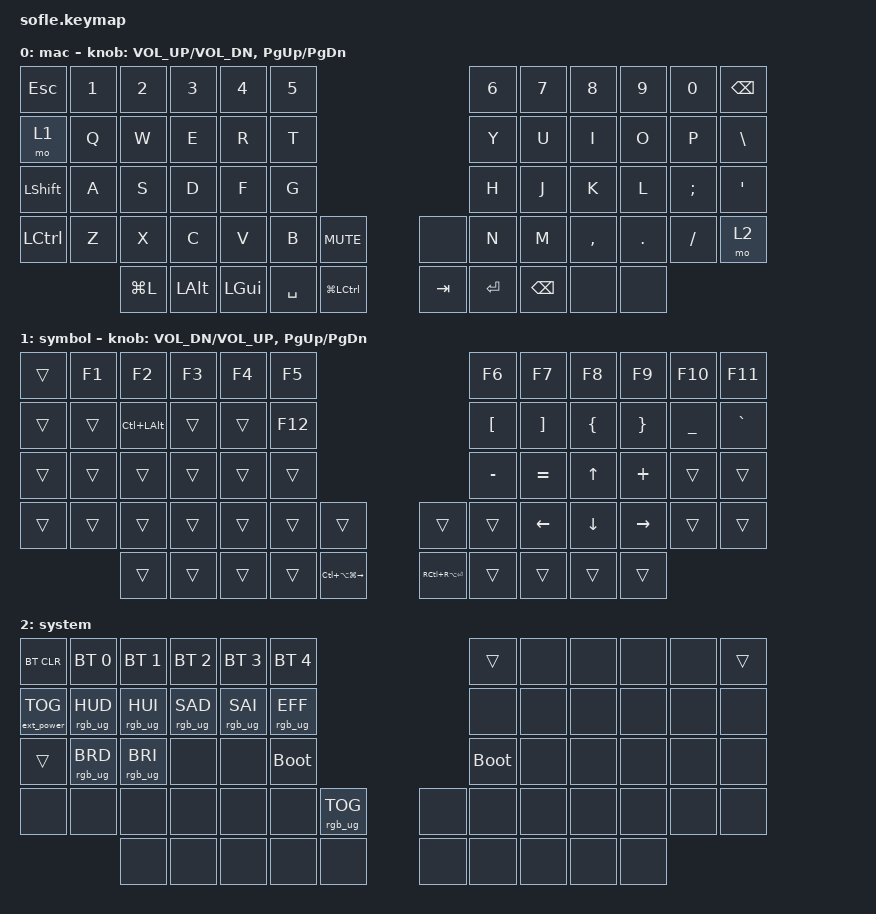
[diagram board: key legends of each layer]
/*
 * Copyright (c) 2020 The ZMK Contributors
 *
 * SPDX-License-Identifier: MIT
 */

#include <behaviors.dtsi>
#include <dt-bindings/zmk/bt.h>
#include <dt-bindings/zmk/ext_power.h>
#include <dt-bindings/zmk/keys.h>
#include <dt-bindings/zmk/rgb.h>

#define BASE 0
#define LOWER 1
#define RAISE 2
#define ADJUST 3

/ {
    // Activate ADJUST layer by pressing raise and lower

    conditional_layers { compatible = "zmk,conditional-layers"; };

    combos { compatible = "zmk,combos"; };

    keymap {
        compatible = "zmk,keymap";

        mac {
            label = "mac";

            // ------------------------------------------------------------------------------------------------------------
            // |   `   |  1  |  2  |  3   |  4   |  5   |                   |  6   |  7    |  8    |  9   |   0   |       |
            // |  ESC  |  Q  |  W  |  E   |  R   |  T   |                   |  Y   |  U    |  I    |  O   |   P   | BKSPC |
            // |  TAB  |  A  |  S  |  D   |  F   |  G   |                   |  H   |  J    |  K    |  L   |   ;   |   '   |
            // | SHIFT |  Z  |  X  |  C   |  V   |  B   |  MUTE  |  |       |  N   |  M    |  ,    |  .   |   /   | SHIFT |
            //               | GUI | ALT  | CTRL | LOWER|  ENTER |  | SPACE | RAISE| CTRL  | ALT   | GUI  |

            bindings = <
&kp ESC           &kp N1  &kp N2     &kp N3    &kp N4    &kp N5                                      &kp N6     &kp N7         &kp N8     &kp N9   &kp N0    &kp BACKSPACE
&mo 1             &kp Q   &kp W      &kp E     &kp R     &kp T                                       &kp Y      &kp U          &kp I      &kp O    &kp P     &kp BACKSLASH
&kp LEFT_SHIFT    &kp A   &kp S      &kp D     &kp F     &kp G                                       &kp H      &kp J          &kp K      &kp L    &kp SEMI  &kp SQT
&kp LEFT_CONTROL  &kp Z   &kp X      &kp C     &kp V     &kp B      &kp C_MUTE              &none    &kp N      &kp M          &kp COMMA  &kp DOT  &kp FSLH  &mo 2
                          &kp LG(L)  &kp LALT  &kp LGUI  &kp SPACE  &kp LG(LEFT_CONTROL)    &kp TAB  &kp ENTER  &kp BACKSPACE  &none      &none
            >;

            sensor-bindings = <&inc_dec_kp C_VOL_UP C_VOL_DN &inc_dec_kp PG_UP PG_DN>;
        };

        symbol {
            label = "symbol";

            // TODO: Some binds are waiting for shifted keycode support.
            // ------------------------------------------------------------------------------------------------------------
            // |       |  F1 |  F2 |  F3  |  F4  |  F5  |                   |  F6  |  F7   |  F8   |  F9  |  F10  |  F11  |
            // |   `   |  1  |  2  |  3   |  4   |  5   |                   |  6   |  7    |  8    |  9   |   0   |  F12  |
            // |       |  !  |  @  |  #   |  $   |  %   |                   |  ^   |  &    |  *    |  (   |   )   |   |   |
            // |       |  =  |  -  |  +   |  {   |  }   |        |  |       |  [   |  ]    |  ;    |  :   |   \   |       |
            //               |     |      |      |      |        |  |       |      |       |       |      |

            bindings = <
&trans  &kp F1  &kp F2            &kp F3  &kp F4  &kp F5                                               &kp F6            &kp F7             &kp F8          &kp F9           &kp F10         &kp F11
&trans  &trans  &kp LC(LEFT_ALT)  &trans  &trans  &kp F12                                              &kp LEFT_BRACKET  &kp RIGHT_BRACKET  &kp LEFT_BRACE  &kp RIGHT_BRACE  &kp UNDERSCORE  &kp GRAVE
&trans  &trans  &trans            &trans  &trans  &trans                                               &kp MINUS         &kp EQUAL          &kp UP          &kp PLUS         &trans          &trans
&trans  &trans  &trans            &trans  &trans  &trans   &trans                   &trans             &trans            &kp LEFT           &kp DOWN        &kp RIGHT_ARROW  &trans          &trans
                &trans            &trans  &trans  &trans   &kp LC(LA(LG(RIGHT)))    &kp RC(RA(ENTER))  &trans            &trans             &trans          &trans
            >;

            sensor-bindings =
                <&inc_dec_kp C_VOL_DN C_VOLUME_UP>,
                <&inc_dec_kp PG_UP PG_DN>;
        };

        system {
            // ----------------------------------------------------------------------------------------------------------------------------
            // | BTCLR  |  BT1    |  BT2    |   BT3   |   BT4   |   BT5   |                  |      |      |       |      |       |       |
            // | EXTPWR | RGB_HUD | RGB_HUI | RGB_SAD | RGB_SAI | RGB_EFF |                  |      |      |       |      |       |       |
            // |        | RGB_BRD | RGB_BRI |         |         |         |                  |      |      |       |      |       |       |
            // |        |         |         |         |         |         | RGB_TOG | |      |      |      |       |      |       |       |
            //                    |         |         |         |         |         | |      |      |      |       |      |

            label = "system";
            bindings = <
&bt BT_CLR         &bt BT_SEL 0     &bt BT_SEL 1     &bt BT_SEL 2     &bt BT_SEL 3     &bt BT_SEL 4                               &trans       &none  &none  &none  &none  &trans
&ext_power EP_TOG  &rgb_ug RGB_HUD  &rgb_ug RGB_HUI  &rgb_ug RGB_SAD  &rgb_ug RGB_SAI  &rgb_ug RGB_EFF                            &none        &none  &none  &none  &none  &none
&trans             &rgb_ug RGB_BRD  &rgb_ug RGB_BRI  &none            &none            &bootloader                                &bootloader  &none  &none  &none  &none  &none
&none              &none            &none            &none            &none            &none            &rgb_ug RGB_TOG    &none  &none        &none  &none  &none  &none  &none
                                    &none            &none            &none            &none            &none              &none  &none        &none  &none  &none
            >;
        };
    };
};
